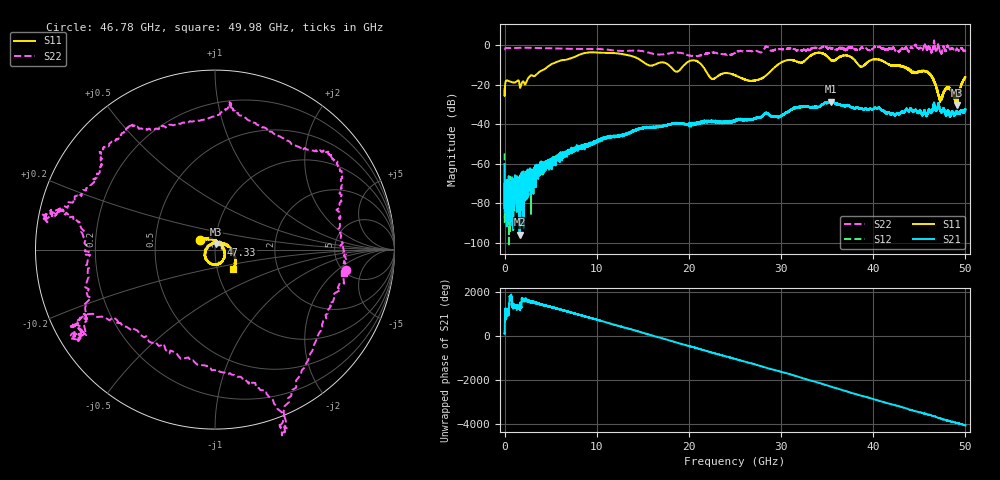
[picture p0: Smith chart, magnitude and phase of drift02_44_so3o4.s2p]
!Created with skrf (http://scikit-rf.org).
# Hz S RI R 50.0
!freq ReS11 ImS11 ReS21 ImS21 ReS12 ImS12 ReS22 ImS22
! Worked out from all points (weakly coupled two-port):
!   10001 points, 300 kHz to 50 GHz, reference 50 ohm
!   highest |S21| = -28.59 dB at 35.39 GHz (marker M1); lowest = -95.9 dB at 1.62 GHz (marker M2)
!   lowest |S11| = -30.3 dB at 49.12 GHz (marker M3), VSWR 1.06, Z = 50.6 + j3.02 ohm
!   |S11| at or under -10 dB: start of sweep to 4.956 GHz; 21.38 GHz to 29.63 GHz (8.244 GHz wide, 32.3 % of centre); 41.87 GHz to end of sweep (the widest 3 of 10)
!   |S22| runs from -5.7 to 2.4 dB; largest |S21 - S12| = 0.0029
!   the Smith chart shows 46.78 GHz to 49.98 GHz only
!   S11 on the Smith chart (normalised r, x): 46.78 GHz: 0.84, +0.09; 47.33 GHz: 1.07, +0.05; 49.98 GHz: 1.19, -0.27
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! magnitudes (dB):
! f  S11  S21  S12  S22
! 300 kHz  -22.1  -60.2  -54.8  -2.1
! 260.3 MHz  -17.9  -75.1  -73.7  -1.4
! 1.62 GHz  -20.1  -95.9  -70.1  -1.4
! 3.76 GHz  -13.6  -65.0  -62.8  -1.5
! 8.335 GHz  -4.5  -51.8  -51.8  -1.9
! 16.67 GHz  -9.1  -41.6  -41.4  -4.7
! 18.7 GHz  -13.5  -39.7  -39.5  -3.7
! 20.6 GHz  -7.7  -40.1  -39.6  -5.7
! 22.51 GHz  -17.1  -38.5  -38.4  -3.7
! 25 GHz  -15.3  -38.7  -38.4  -3.9
! 27.47 GHz  -17.6  -36.7  -36.4  -3.2
! 30.22 GHz  -8.3  -35.4  -35.1  -2.0
! 33.34 GHz  -4.9  -31.3  -31.3  -1.6
! 35.39 GHz  -7.3  -28.6  -28.7  -1.5
! 41.67 GHz  -9.7  -34.2  -34.2  -1.9
! 45.78 GHz  -13.5  -36.1  -35.7  -2.0
! 46.78 GHz  -20.2  -33.3  -33.1  -2.6
! 47.33 GHz  -27.3  -33.3  -33.4  -3.8
! 48.1 GHz  -21.8  -33.0  -33.5  -0.4
! 49.12 GHz  -30.3  -34.0  -34.0  -2.0
! 49.98 GHz  -16.6  -33.5  -33.1  -2.7
! 50 GHz  -16.2  -32.4  -32.3  -2.7
